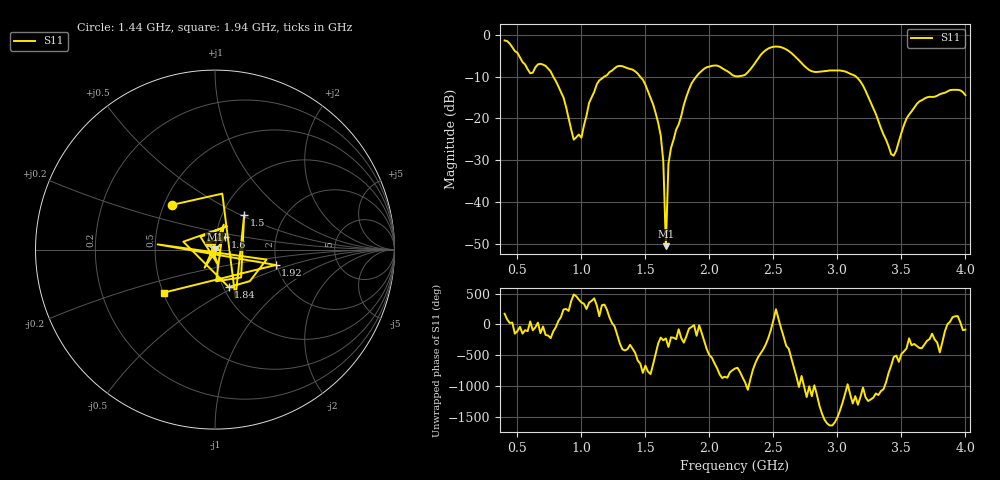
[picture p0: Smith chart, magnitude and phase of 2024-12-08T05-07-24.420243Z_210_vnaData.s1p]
!Created with skrf (http://scikit-rf.org).
# Hz S RI R 50.0
!freq ReS11 ImS11
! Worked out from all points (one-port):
!   181 points, 400 MHz to 4 GHz, reference 50 ohm
!   lowest |S11| = -50.6 dB at 1.66 GHz (marker M1), VSWR 1.01, Z = 49.8 + j0.219 ohm
!   |S11| at or under -10 dB: 780.1 MHz to 1.178 GHz (397.6 MHz wide, 40.6 % of centre); 1.459 GHz to 1.897 GHz (438 MHz wide, 26.1 % of centre); 3.146 GHz to end of sweep
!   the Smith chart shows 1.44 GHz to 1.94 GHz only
!   S11 on the Smith chart (normalised r, x): 1.44 GHz: 0.55, +0.31; 1.5 GHz: 1.27, +0.53; 1.6 GHz: 1.10, +0.15; 1.84 GHz: 1.06, -0.46; 1.92 GHz: 1.97, -0.39; 1.94 GHz: 0.50, -0.28
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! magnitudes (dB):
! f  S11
! 400 MHz  -1.3
! 600 MHz  -9.2
! 720 MHz  -7.4
! 860 MHz  -15.0
! 940 MHz  -25.1
! 1 GHz  -24.6
! 1.12 GHz  -11.8
! 1.3 GHz  -7.4
! 1.44 GHz  -9.3
! 1.5 GHz  -11.9
! 1.6 GHz  -21.1
! 1.64 GHz  -30.4
! 1.66 GHz  -50.6
! 1.68 GHz  -30.8
! 1.76 GHz  -21.4
! 1.84 GHz  -13.1
! 1.92 GHz  -9.1
! 1.94 GHz  -8.6
! 2.2 GHz  -9.9
! 2.48 GHz  -3.0
! 2.66 GHz  -4.9
! 2.8 GHz  -8.7
! 3.1 GHz  -9.3
! 3.2 GHz  -12.1
! 3.42 GHz  -28.6
! 3.56 GHz  -19.1
! 3.7 GHz  -14.9
! 4 GHz  -14.4
